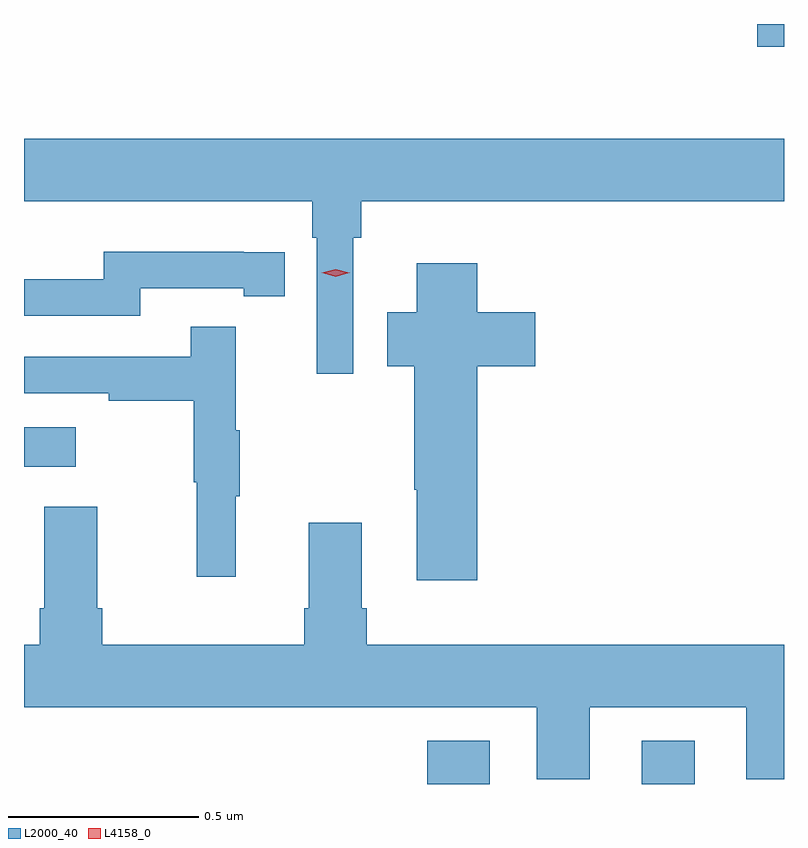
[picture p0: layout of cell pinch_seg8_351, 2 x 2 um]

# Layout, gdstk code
import gdstk
lib = gdstk.Library(unit=1e-6, precision=1e-09)
def R(c, l, rs):  # rectangles x0, y0, x1, y1
    for r in rs: c.add(gdstk.rectangle(r[:2], r[2:], *l))
def P(c, l, *ps):  # polygons
    for p in ps: c.add(gdstk.Polygon(p, *l))
L2000_40 = (2000, 40)
L4158_0 = (4158, 0)

pinch_seg8_351 = lib.new_cell('pinch_seg8_351')
R(pinch_seg8_351, L2000_40, [(398.465,1136.278,398.629,1136.392), (399.029,1136.278,399.169,1136.392), (397.404,1137.113,397.54,1137.217), (399.333,1138.218,399.404,1138.278)])
P(pinch_seg8_351, L2000_40, [(398.271,1137.716),(398.291,1137.716),(398.291,1137.812),(399.404,1137.812),(399.404,1137.976),(397.404,1137.976),(397.404,1137.812),(398.162,1137.812),(398.162,1137.716),(398.175,1137.716),(398.175,1137.357),(398.271,1137.357)],
  [(397.71,1137.582),(397.982,1137.582),(397.982,1137.562),(398.09,1137.562),(398.09,1137.678),(397.982,1137.678),(397.982,1137.679),(397.614,1137.679),(397.614,1137.606),(397.404,1137.606),(397.404,1137.51),(397.71,1137.51)],
  [(398.597,1137.377),(398.749,1137.377),(398.749,1137.519),(398.597,1137.519),(398.597,1137.649),(398.438,1137.649),(398.438,1137.519),(398.36,1137.519),(398.36,1137.377),(398.431,1137.377),(398.431,1137.052),(398.438,1137.052),(398.438,1136.814),(398.597,1136.814)],
  [(397.961,1137.035),(397.972,1137.035),(397.972,1137.209),(397.961,1137.209),(397.961,1137.481),(397.843,1137.481),(397.843,1137.402),(397.404,1137.402),(397.404,1137.306),(397.627,1137.306),(397.627,1137.286),(397.851,1137.286),(397.851,1137.072),(397.858,1137.072),(397.858,1136.823),(397.961,1136.823)],
  [(398.893,1136.48),(399.305,1136.48),(399.305,1136.29),(399.404,1136.29),(399.404,1136.644),(398.306,1136.644),(398.306,1136.74),(398.293,1136.74),(398.293,1136.965),(398.153,1136.965),(398.153,1136.74),(398.141,1136.74),(398.141,1136.644),(397.61,1136.644),(397.61,1136.74),(397.597,1136.74),(397.597,1137.007),(397.457,1137.007),(397.457,1136.74),(397.445,1136.74),(397.445,1136.644),(397.404,1136.644),(397.404,1136.48),(398.753,1136.48),(398.753,1136.29),(398.893,1136.29)])
P(pinch_seg8_351, L4158_0, [(398.224,1137.613),(398.188,1137.623),(398.188,1137.623),(398.188,1137.624),(398.224,1137.633),(398.26,1137.624),(398.261,1137.623),(398.26,1137.623)])

lib.write_gds('pinch_seg8_351.gds')
